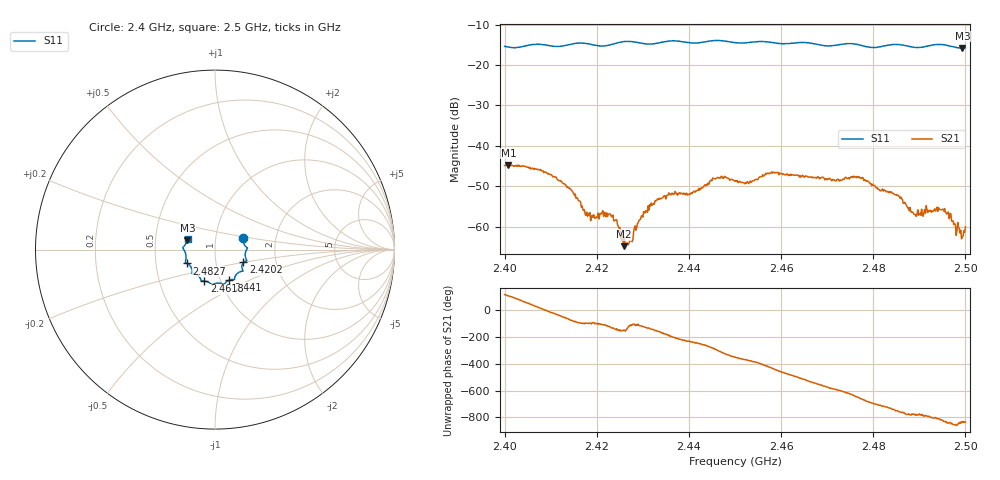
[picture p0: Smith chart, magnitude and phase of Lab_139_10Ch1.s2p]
# Hz S RI R 50
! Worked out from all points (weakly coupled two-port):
!   601 points, 2.4 GHz to 2.5 GHz, reference 50 ohm
!   highest |S21| = -44.69 dB at 2.4008 GHz (marker M1); lowest = -64.8 dB at 2.4258 GHz (marker M2)
!   lowest |S11| = -15.8 dB at 2.4993 GHz (marker M3), VSWR 1.39, Z = 36.5 + j3.83 ohm
!   |S11| at or under -10 dB: start of sweep to end of sweep
!   S12 and S22 are empty: the file has one direction only
!   S11 on the Smith chart (normalised r, x): 2.4 GHz: 1.36, +0.18; 2.4202 GHz: 1.36, -0.20; 2.441 GHz: 1.10, -0.39; 2.4618 GHz: 0.84, -0.30; 2.4827 GHz: 0.72, -0.11; 2.5 GHz: 0.73, +0.09
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2.4e9  0.1585 0.0627  -0.00275 0.00502  0 0  0 0
2.400833e9  0.1579 0.0537  -0.00182 0.00554  0 0  0 0
2.410667e9  0.1701 -0.0128  0.00386 -0.00152  0 0  0 0
2.416667e9  0.1769 -0.0611  -0.000214 -0.00172  0 0  0 0
2.420167e9  0.1584 -0.0712  -0.000176 -0.00132  0 0  0 0
2.423e9  0.1494 -0.0973  -0.00086 -0.00113  0 0  0 0
2.425833e9  0.1561 -0.1172  -0.000478 -0.000319  0 0  0 0
2.427333e9  0.1552 -0.1195  -0.000201 -0.000642  0 0  0 0
2.429833e9  0.1381 -0.1237  -0.000659 -0.00119  0 0  0 0
2.433333e9  0.1112 -0.1509  -0.00202 -0.00089  0 0  0 0
2.441e9  0.0787 -0.1698  -0.00144 0.00233  0 0  0 0
2.445667e9  0.0506 -0.1948  0.00134 0.00366  0 0  0 0
2.45e9  0.0283 -0.1874  0.0036 0.00063  0 0  0 0
2.461833e9  -0.0593 -0.1754  -0.0022 -0.00381  0 0  0 0
2.466667e9  -0.0788 -0.1684  -0.00414 -0.00017  0 0  0 0
2.477333e9  -0.1267 -0.1215  0.00208 0.00344  0 0  0 0
2.482667e9  -0.156 -0.0771  0.00279 -9.86e-05  0 0  0 0
2.483333e9  -0.1602 -0.075  0.00261 -0.000429  0 0  0 0
2.489e9  -0.1614 -0.0369  0.000758 -0.00119  0 0  0 0
2.495333e9  -0.1778 0.014  -0.000597 -0.00144  0 0  0 0
2.499333e9  -0.154 0.0511  -0.000338 -0.000673  0 0  0 0
2.5e9  -0.1523 0.0609  -0.000439 -0.000893  0 0  0 0
